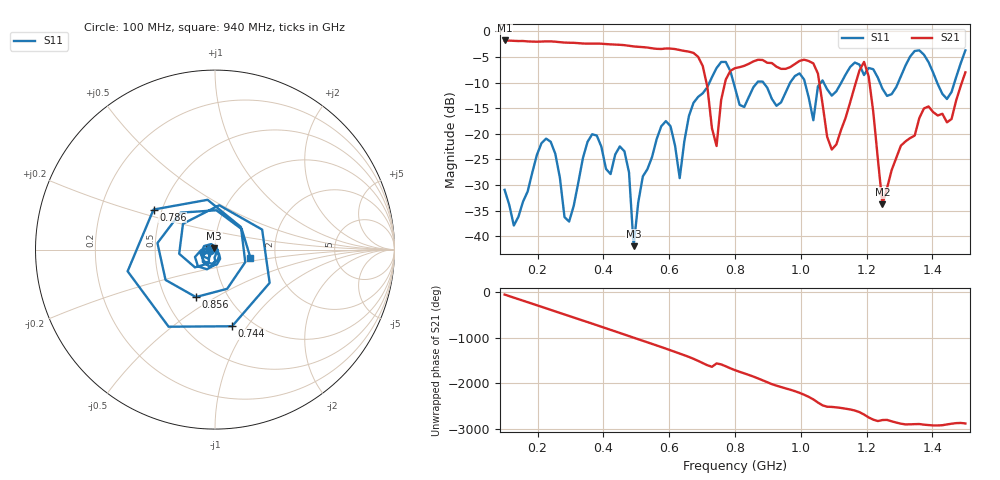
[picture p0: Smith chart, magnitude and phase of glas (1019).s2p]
! NanoVNA-App
! Date: 2025-09-25 16:03:24
! Start: 100MHz Stop: 1,5GHz Points: 101
! S-Parameter data: F S11 S21 S12 S22
# Hz S RI R 50
!  Frequency  S11_Real  S11_Imag  S21_Real  S21_Imag  S12_Real  S12_Imag  S22_Real  S22_Imag
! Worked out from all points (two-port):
!   101 points, 100 MHz to 1.5 GHz, reference 50 ohm
!   highest |S21| = -1.80 dB at 100 MHz (marker M1); lowest = -33.7 dB at 1.248 GHz (marker M2)
!   |S21| within 3 dB of the highest: start of sweep to 684.5 MHz
!   lowest |S11| = -41.9 dB at 492 MHz (marker M3), VSWR 1.02, Z = 49.5 + j0.618 ohm
!   |S11| at or under -10 dB: start of sweep to 722.5 MHz; 795.5 MHz to 867.6 MHz (72.01 MHz wide, 8.66 % of centre); 886.1 MHz to 967.8 MHz (81.68 MHz wide, 8.81 % of centre) (the widest 3 of 7)
!   S12 and S22 are empty: the file has one direction only
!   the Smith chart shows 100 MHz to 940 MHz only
!   S11 on the Smith chart (normalised r, x): 100 MHz: 0.94, -0.01; 744 MHz: 0.81, -0.85; 786 MHz: 0.45, +0.24; 856 MHz: 0.71, -0.41; 940 MHz: 1.48, -0.14
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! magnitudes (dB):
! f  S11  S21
! 100 MHz  -30.9  -1.8
! 128 MHz  -37.9  -1.9
! 226 MHz  -20.9  -2.0
! 296 MHz  -37.1  -2.2
! 338 MHz  -24.7  -2.4
! 464 MHz  -23.4  -2.7
! 492 MHz  -41.9  -3.0
! 576 MHz  -18.5  -3.5
! 632 MHz  -28.6  -3.7
! 702 MHz  -12.1  -6.8
! 744 MHz  -7.2  -22.4
! 786 MHz  -7.8  -7.7
! 800 MHz  -11.0  -7.2
! 856 MHz  -10.9  -5.9
! 940 MHz  -13.9  -7.3
! 996 MHz  -8.2  -5.8
! 1.038 GHz  -17.4  -6.3
! 1.094 GHz  -12.6  -23.1
! 1.192 GHz  -8.5  -6.0
! 1.248 GHz  -11.2  -33.7
! 1.276 GHz  -12.3  -27.1
! 1.5 GHz  -3.7  -8.0
